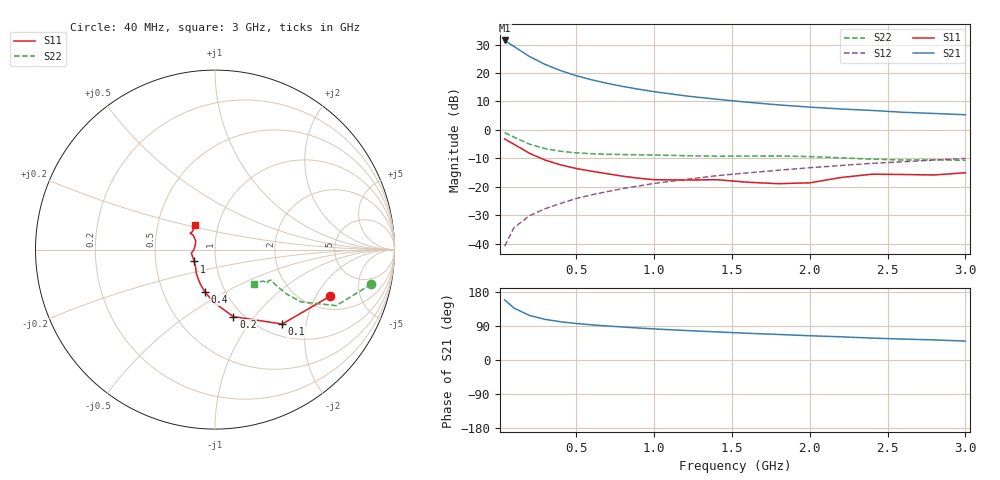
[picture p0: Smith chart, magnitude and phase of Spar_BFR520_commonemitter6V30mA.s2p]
! Filename:  BFR520L.S2P  Version:  2.1
! NXP part #: BFR520  Date: Sep 1991
! Bias condition: Vce=6V, Ic=30mA
#  MHz  S  MA  R  50
! Freq  S11  S21  S12  S22  !GUM [dB]
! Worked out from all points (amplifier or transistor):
!   21 points, 40 MHz to 3 GHz, reference 50 ohm
!   highest |S21| = 31.4 dB at 40 MHz (marker M1)
!   |S21| within 3 dB of that: start of sweep to 125.2 MHz
!   unconditionally stable (mu >= 1): 736.6 MHz to end of sweep
!   at 300 MHz: K = 0.83, MSG = 25.4 dB, |S12| = -27.7 dB
!   at 1 GHz: K = 1.02, MAG = 15.2 dB, |S12| = -18.9 dB
!   at 3 GHz: K = 1.01, MAG = 7.1 dB, |S12| = -10.1 dB
!   S11 on the Smith chart (normalised r, x): 40 MHz: 2.65, -2.64; 100 MHz: 1.22, -1.47; 200 MHz: 0.90, -0.79; 400 MHz: 0.80, -0.40; 1 GHz: 0.79, -0.11; 3 GHz: 0.77, +0.22
40  0.691 -22.1  37.36 158.7  0.009 80.4  0.892 -12.5
100  0.559 -47.9  29.32 137.1  0.019 71.6  0.744 -24.8
200  0.387 -74.7  19.48 117.4  0.031 68.8  0.56 -31.3
300  0.294 -91.4  14.15 107.3  0.041 70.4  0.468 -31.8
400  0.242 -103.6  11.01 100.9  0.051 71.6  0.42 -30.9
500  0.209 -112.9  8.974 96.4  0.062 72.7  0.395 -30.3
600  0.187 -120.3  7.584 92.8  0.072 73.4  0.38 -29.8
700  0.169 -127.8  6.574 89.7  0.082 74.2  0.373 -29.5
800  0.153 -134.1  5.797 87.0  0.093 74.6  0.368 -29.0
900  0.141 -141.3  5.192 84.4  0.103 74.5  0.364 -28.8
1000  0.133 -150.1  4.694 82.0  0.114 74.5  0.361 -28.6
1200  0.131 -163.8  3.965 77.9  0.134 73.8  0.351 -29.1
1400  0.133 -171.6  3.463 74.2  0.156 73.2  0.344 -30.7
1600  0.12 -177.7  3.062 70.5  0.175 72.3  0.346 -31.6
1800  0.113 171.5  2.75 67.4  0.195 71.7  0.347 -32.7
2000  0.117 156.0  2.515 64.0  0.216 70.3  0.339 -32.6
2200  0.145 146.6  2.33 61.2  0.236 69.1  0.322 -33.1
2400  0.166 146.1  2.195 57.8  0.258 67.8  0.305 -35.9
2600  0.164 146.9  2.038 55.2  0.275 66.4  0.295 -39.9
2800  0.161 140.8  1.941 53.0  0.294 65.5  0.297 -42.1
3000  0.176 129.3  1.844 49.9  0.314 64.1  0.291 -41.9
